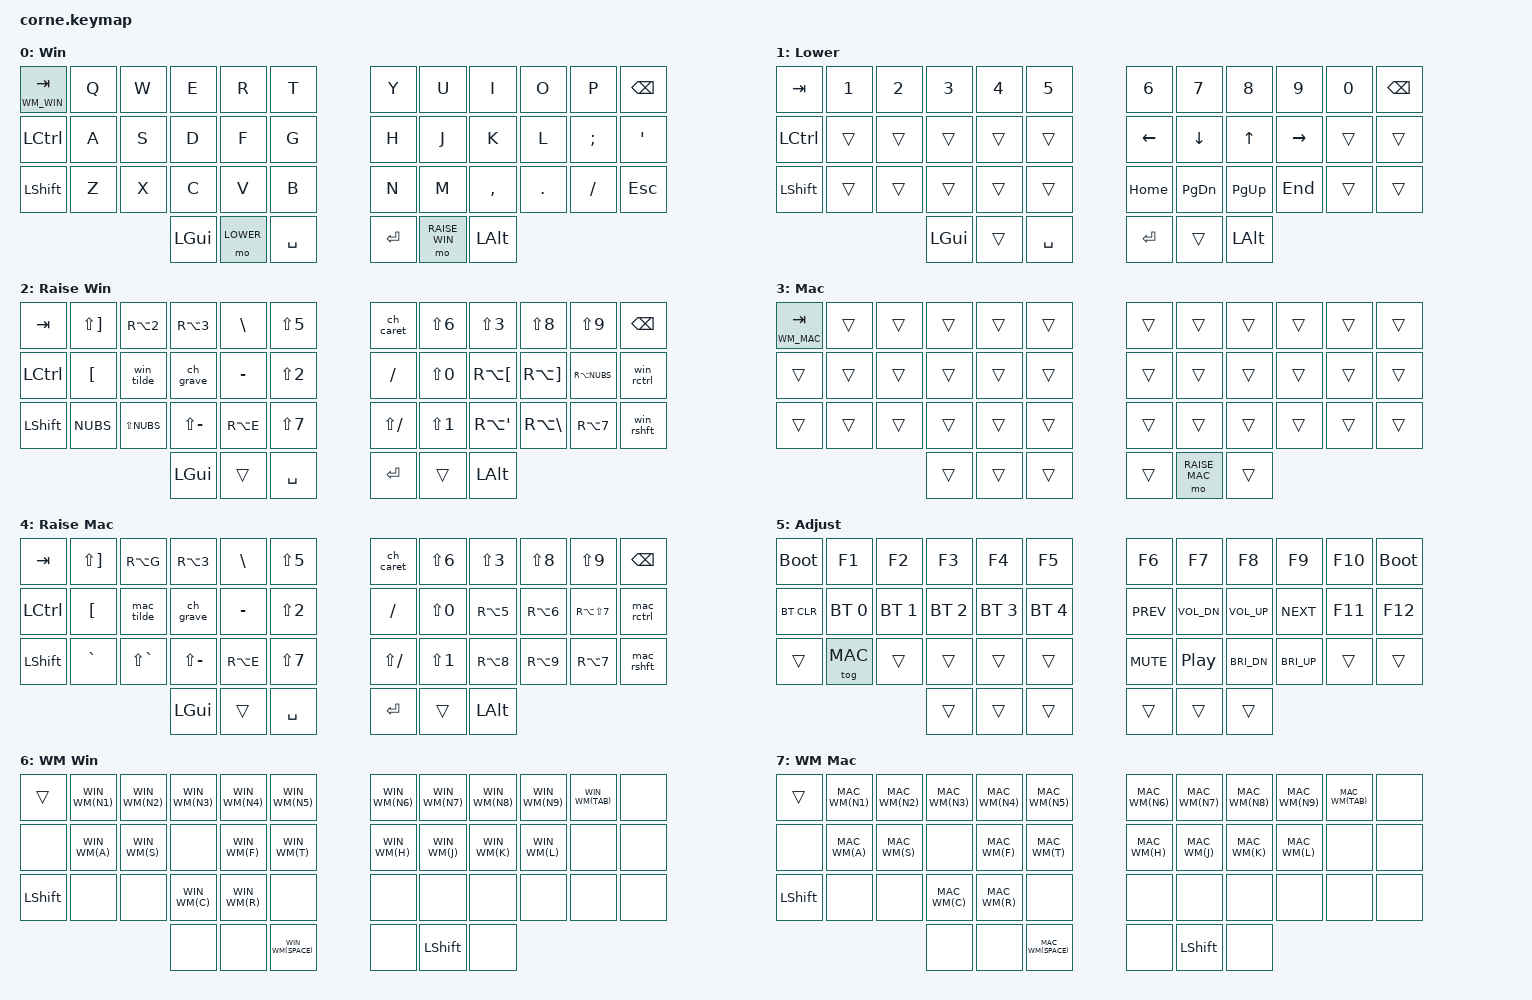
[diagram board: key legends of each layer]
/*
 * Copyright (c) 2020 The ZMK Contributors
 *
 * SPDX-License-Identifier: MIT
 */

#include <behaviors.dtsi>
#include <dt-bindings/zmk/keys.h>
#include <dt-bindings/zmk/bt.h>

// Layout im Betriebssystem: Deutsch (Schweiz) / Schweizerdeutsch.
// ZMK sendet nur US-Tastenpositionen, darum werden Symbole hier als
// Tastenkombinationen fuer das CH-DE Layout definiert.

#define BASE      0
#define LOWER     1
#define RAISE_WIN 2
#define MAC       3
#define RAISE_MAC 4
#define ADJUST    5
#define WM_WIN    6
#define WM_MAC    7

// CH-DE, gleich auf Windows und macOS
#define CH_UE    LBKT        // ü
#define CH_OE    SEMI        // ö
#define CH_AE    SQT         // ä
#define CH_EXCL  LS(RBKT)    // !
#define CH_DQT   LS(N2)      // "
#define CH_DLLR  BSLH        // $
#define CH_PRCNT LS(N5)      // %
#define CH_AMPS  LS(N6)      // &
#define CH_FSLH  LS(N7)      // /
#define CH_ASTRK LS(N3)      // *
#define CH_LPAR  LS(N8)      // (
#define CH_RPAR  LS(N9)      // )
#define CH_EQUAL LS(N0)      // =
#define CH_PLUS  LS(N1)      // +
#define CH_SQT   MINUS       // '
#define CH_QMARK LS(MINUS)   // ?
#define CH_MINUS FSLH        // -
#define CH_UNDER LS(FSLH)    // _
#define CH_LT    NUBS        // <
#define CH_GT    LS(NUBS)    // >

// CH-DE Windows (AltGr = rechte Alt-Taste)
#define WIN_AT   RA(N2)      // @
#define WIN_HASH RA(N3)      // #
#define WIN_PIPE RA(N7)      // |
#define WIN_BSLH RA(NUBS)    // backslash
#define WIN_LBKT RA(LBKT)    // [
#define WIN_RBKT RA(RBKT)    // ]
#define WIN_LBRC RA(SQT)     // {
#define WIN_RBRC RA(BSLH)    // }
#define WIN_EURO RA(E)       // €

// Schweizerdeutsch macOS (rechte Option: Terminals wie WezTerm werten linke Option als Meta)
#define MAC_AT   RA(G)       // @
#define MAC_HASH RA(N3)      // #
#define MAC_PIPE RA(N7)      // |
#define MAC_BSLH RA(LS(N7))  // backslash
#define MAC_LBKT RA(N5)      // [
#define MAC_RBKT RA(N6)      // ]
#define MAC_LBRC RA(N8)      // {
#define MAC_RBRC RA(N9)      // }
#define MAC_EURO RA(E)       // €
// macOS vertauscht bei ZMK-Boards die ISO-Tasten < und §, darum GRAVE statt NUBS
#define MAC_LT   GRAVE       // <
#define MAC_GT   LS(GRAVE)   // >

// Fenstermanager-Layer: gleiche Tasten, Modifier pro OS
// Windows GlazeWM: Alt (Ctrl+Alt waere AltGr), macOS AeroSpace: Ctrl+Alt
#define WIN_WM(key) LA(key)
#define MAC_WM(key) LC(LA(key))

// TAB halten = WM-Layer. balanced: Layer schon, wenn waehrend TAB eine
// andere Taste gedrueckt und losgelassen wird (sonst erst nach 200 ms)
&lt {
        flavor = "balanced";
        tapping-term-ms = <200>;
};

/ {
        // ^ ` ~ sind auf CH-DE Dead Keys: Taste + Space ergibt das Zeichen direkt
        macros {
                ch_caret: ch_caret {
                        compatible = "zmk,behavior-macro";
                        #binding-cells = <0>;
                        bindings = <&macro_tap &kp EQUAL &kp SPACE>;
                };
                ch_grave: ch_grave {
                        compatible = "zmk,behavior-macro";
                        #binding-cells = <0>;
                        bindings = <&macro_tap &kp LS(EQUAL) &kp SPACE>;
                };
                win_tilde: win_tilde {
                        compatible = "zmk,behavior-macro";
                        #binding-cells = <0>;
                        bindings = <&macro_tap &kp RA(EQUAL) &kp SPACE>;
                };
                mac_tilde: mac_tilde {
                        compatible = "zmk,behavior-macro";
                        #binding-cells = <0>;
                        bindings = <&macro_tap &kp RA(N) &kp SPACE>;
                };

                // Ctrl/Shift auf Raise: zuerst Raise ausschalten, dann Modifier halten,
                // damit darunter die Buchstaben vom Base-Layer erreichbar sind.
                // &to statt &tog: schaltet sicher aus (Base bleibt, im Mac-Modus auch MAC)
                win_rctrl: win_rctrl {
                        compatible = "zmk,behavior-macro";
                        #binding-cells = <0>;
                        wait-ms = <0>;
                        tap-ms = <0>;
                        bindings
                                = <&macro_tap &to BASE>
                                , <&macro_press &kp RCTRL>
                                , <&macro_pause_for_release>
                                , <&macro_release &kp RCTRL>;
                };
                win_rshft: win_rshft {
                        compatible = "zmk,behavior-macro";
                        #binding-cells = <0>;
                        wait-ms = <0>;
                        tap-ms = <0>;
                        bindings
                                = <&macro_tap &to BASE>
                                , <&macro_press &kp RSHFT>
                                , <&macro_pause_for_release>
                                , <&macro_release &kp RSHFT>;
                };
                mac_rctrl: mac_rctrl {
                        compatible = "zmk,behavior-macro";
                        #binding-cells = <0>;
                        wait-ms = <0>;
                        tap-ms = <0>;
                        bindings
                                = <&macro_tap &to MAC>
                                , <&macro_press &kp RCTRL>
                                , <&macro_pause_for_release>
                                , <&macro_release &kp RCTRL>;
                };
                mac_rshft: mac_rshft {
                        compatible = "zmk,behavior-macro";
                        #binding-cells = <0>;
                        wait-ms = <0>;
                        tap-ms = <0>;
                        bindings
                                = <&macro_tap &to MAC>
                                , <&macro_press &kp RSHFT>
                                , <&macro_pause_for_release>
                                , <&macro_release &kp RSHFT>;
                };
        };

        // Lower + Raise gleichzeitig halten aktiviert Adjust (Windows- und Mac-Modus)
        conditional_layers {
                compatible = "zmk,conditional-layers";
                adjust_win {
                        if-layers = <LOWER RAISE_WIN>;
                        then-layer = <ADJUST>;
                };
                adjust_mac {
                        if-layers = <LOWER RAISE_MAC>;
                        then-layer = <ADJUST>;
                };
        };

        keymap {
                compatible = "zmk,keymap";

                default_layer {
// -----------------------------------------------------------------------------------------
// |TAB/WM|  Q  |  W  |  E  |  R  |  T  |   |  Z  |  U   |  I  |  O  |  P  | BKSP |
// | CTRL |  A  |  S  |  D  |  F  |  G  |   |  H  |  J   |  K  |  L  |  ö  |  ä   |
// | SHFT |  Y  |  X  |  C  |  V  |  B  |   |  N  |  M   |  ,  |  .  |  -  | ESC  |
//                    | GUI | LWR | SPC |   | ENT | RSE  | ALT |
                        display-name = "Win";
                        bindings = <
   &lt WM_WIN TAB &kp Q &kp W &kp E &kp R &kp T   &kp Y &kp U  &kp I     &kp O   &kp P    &kp BSPC
   &kp LCTRL &kp A &kp S &kp D &kp F &kp G   &kp H &kp J  &kp K     &kp L   &kp SEMI &kp SQT
   &kp LSHFT &kp Z &kp X &kp C &kp V &kp B   &kp N &kp M  &kp COMMA &kp DOT &kp FSLH &kp ESC
                  &kp LGUI &mo LOWER &kp SPACE   &kp RET &mo RAISE_WIN &kp LALT
                        >;
                };
                lower_layer {
// -----------------------------------------------------------------------------------------
// |  TAB |  1  |  2  |  3  |  4  |  5  |   |  6  |  7  |  8  |  9  |  0  | BKSP |
// | CTRL |     |     |     |     |     |   | LFT | DWN |  UP | RGT |     |      |
// | SHFT |     |     |     |     |     |   | HOME| PGDN| PGUP| END |     |      |
//                    | GUI |     | SPC |   | ENT |     | ALT |
                        display-name = "Lower";
                        bindings = <
   &kp TAB    &kp N1 &kp N2 &kp N3 &kp N4 &kp N5   &kp N6   &kp N7    &kp N8    &kp N9    &kp N0 &kp BSPC
   &kp LCTRL  &trans &trans &trans &trans &trans   &kp LEFT &kp DOWN  &kp UP    &kp RIGHT &trans &trans
   &kp LSHFT  &trans &trans &trans &trans &trans   &kp HOME &kp PG_DN &kp PG_UP &kp END   &trans &trans
                          	        &kp LGUI     &trans       &kp SPACE      &kp RET  &trans   &kp LALT
                        >;
                };

                raise_win_layer {
// -----------------------------------------------------------------------------------------
// |  TAB |  !  |  @  |  #  |  $  |  %  |   |  ^  |  &  |  *  |  (  |  )  | BKSP |
// | CTRL |  ü  |  ~  |  `  |  '  |  "  |   |  -  |  =  |  [  |  ]  |  \  | CTRL |
// | SHFT |  <  |  >  |  ?  |  €  |  /  |   |  _  |  +  |  {  |  }  | "|" | SHFT |
//                    | GUI |     | SPC |   | ENT |     | ALT |
                        display-name = "Raise Win";
                        bindings = <
   &kp  TAB  &kp CH_EXCL &kp WIN_AT &kp WIN_HASH &kp CH_DLLR  &kp CH_PRCNT   &ch_caret    &kp CH_AMPS  &kp CH_ASTRK &kp CH_LPAR  &kp CH_RPAR  &kp BSPC
   &kp LCTRL &kp CH_UE   &win_tilde &ch_grave    &kp CH_SQT   &kp CH_DQT     &kp CH_MINUS &kp CH_EQUAL &kp WIN_LBKT &kp WIN_RBKT &kp WIN_BSLH &win_rctrl
   &kp LSHFT &kp CH_LT   &kp CH_GT  &kp CH_QMARK &kp WIN_EURO &kp CH_FSLH    &kp CH_UNDER &kp CH_PLUS  &kp WIN_LBRC &kp WIN_RBRC &kp WIN_PIPE &win_rshft
                    	     &kp LGUI     &trans       &kp SPACE      &kp RET      &trans       &kp LALT
                        >;
                };

                mac_layer {
// Overlay, aktiv im Mac-Modus: Raise-Taste oeffnet den macOS Symbol-Layer,
// TAB halten den AeroSpace-Layer
                        display-name = "Mac";
                        bindings = <
   &lt WM_MAC TAB &trans &trans &trans &trans &trans   &trans &trans &trans &trans &trans &trans
   &trans &trans &trans &trans &trans &trans   &trans &trans &trans &trans &trans &trans
   &trans &trans &trans &trans &trans &trans   &trans &trans &trans &trans &trans &trans
                        &trans &trans &trans   &trans &mo RAISE_MAC &trans
                        >;
                };

                raise_mac_layer {
// -----------------------------------------------------------------------------------------
// |  TAB |  !  |  @  |  #  |  $  |  %  |   |  ^  |  &  |  *  |  (  |  )  | BKSP |
// | CTRL |  ü  |  ~  |  `  |  '  |  "  |   |  -  |  =  |  [  |  ]  |  \  | CTRL |
// | SHFT |  <  |  >  |  ?  |  €  |  /  |   |  _  |  +  |  {  |  }  | "|" | SHFT |
//                    | GUI |     | SPC |   | ENT |     | ALT |
                        display-name = "Raise Mac";
                        bindings = <
   &kp  TAB  &kp CH_EXCL &kp MAC_AT &kp MAC_HASH &kp CH_DLLR  &kp CH_PRCNT   &ch_caret    &kp CH_AMPS  &kp CH_ASTRK &kp CH_LPAR  &kp CH_RPAR  &kp BSPC
   &kp LCTRL &kp CH_UE   &mac_tilde &ch_grave    &kp CH_SQT   &kp CH_DQT     &kp CH_MINUS &kp CH_EQUAL &kp MAC_LBKT &kp MAC_RBKT &kp MAC_BSLH &mac_rctrl
   &kp LSHFT &kp MAC_LT  &kp MAC_GT &kp CH_QMARK &kp MAC_EURO &kp CH_FSLH    &kp CH_UNDER &kp CH_PLUS  &kp MAC_LBRC &kp MAC_RBRC &kp MAC_PIPE &mac_rshft
                    	     &kp LGUI     &trans       &kp SPACE      &kp RET      &trans       &kp LALT
                        >;
                };

                adjust_layer {
// -----------------------------------------------------------------------------------------
// | BOOT |  F1 |  F2 |  F3 |  F4 |  F5 |   |  F6 |  F7 |  F8 |  F9 | F10 | BOOT |
// | BTCLR| BT1 | BT2 | BT3 | BT4 | BT5 |   | PREV| VOL-| VOL+| NEXT| F11 |  F12 |
// |      | MAC |     |     |     |     |   | MUTE| PLAY| BRI-| BRI+|     |      |
//                    |     |     |     |   |     |     |     |
// BOOT: Bootloader der jeweiligen Haelfte (zum Flashen)
// MAC:  schaltet Symbol-Layer zwischen Windows (Standard) und macOS um
                        display-name = "Adjust";
                        bindings = <
   &bootloader &kp F1       &kp F2       &kp F3       &kp F4       &kp F5         &kp F6     &kp F7       &kp F8       &kp F9       &kp F10 &bootloader
   &bt BT_CLR  &bt BT_SEL 0 &bt BT_SEL 1 &bt BT_SEL 2 &bt BT_SEL 3 &bt BT_SEL 4   &kp C_PREV &kp C_VOL_DN &kp C_VOL_UP &kp C_NEXT   &kp F11 &kp F12
   &trans      &tog MAC     &trans       &trans       &trans       &trans         &kp C_MUTE &kp C_PP     &kp C_BRI_DN &kp C_BRI_UP &trans  &trans
                                         &trans       &trans       &trans         &trans     &trans       &trans
                        >;
                };

                wm_win_layer {
// -----------------------------------------------------------------------------------------
// | hold |  1  |  2  |  3  |  4  |  5  |   |  6  |  7  |  8  |  9  | TAB |      |
// |      |  A  |  S  |     |  F  |  T  |   |  H  |  J  |  K  |  L  |     |      |
// | SHFT |     |     |  C  |  R  |     |   |     |     |     |     |     |      |
//                    |     |     | SPC |   |     | SHFT|     |
// Jede Taste sendet Modifier + Taste (Windows: Alt, z.B. Alt+H)
// SHFT (links oder Daumen) ergibt die Shift-Variante (verschieben)
                        display-name = "WM Win";
                        bindings = <
   &trans &kp WIN_WM(N1) &kp WIN_WM(N2) &kp WIN_WM(N3) &kp WIN_WM(N4) &kp WIN_WM(N5)   &kp WIN_WM(N6) &kp WIN_WM(N7) &kp WIN_WM(N8) &kp WIN_WM(N9) &kp WIN_WM(TAB) &none
   &none  &kp WIN_WM(A)  &kp WIN_WM(S)  &none          &kp WIN_WM(F)  &kp WIN_WM(T)    &kp WIN_WM(H)  &kp WIN_WM(J)  &kp WIN_WM(K)  &kp WIN_WM(L)  &none           &none
   &kp LSHFT &none       &none          &kp WIN_WM(C)  &kp WIN_WM(R)  &none            &none          &none          &none          &none          &none           &none
                                        &none          &none          &kp WIN_WM(SPACE)   &none     &kp LSHFT      &none
                        >;
                };

                wm_mac_layer {
// Wie WM Win, Modifier macOS: Ctrl+Alt (AeroSpace, z.B. Ctrl+Alt+H)
                        display-name = "WM Mac";
                        bindings = <
   &trans &kp MAC_WM(N1) &kp MAC_WM(N2) &kp MAC_WM(N3) &kp MAC_WM(N4) &kp MAC_WM(N5)   &kp MAC_WM(N6) &kp MAC_WM(N7) &kp MAC_WM(N8) &kp MAC_WM(N9) &kp MAC_WM(TAB) &none
   &none  &kp MAC_WM(A)  &kp MAC_WM(S)  &none          &kp MAC_WM(F)  &kp MAC_WM(T)    &kp MAC_WM(H)  &kp MAC_WM(J)  &kp MAC_WM(K)  &kp MAC_WM(L)  &none           &none
   &kp LSHFT &none       &none          &kp MAC_WM(C)  &kp MAC_WM(R)  &none            &none          &none          &none          &none          &none           &none
                                        &none          &none          &kp MAC_WM(SPACE)   &none     &kp LSHFT      &none
                        >;
                };
        };
};
